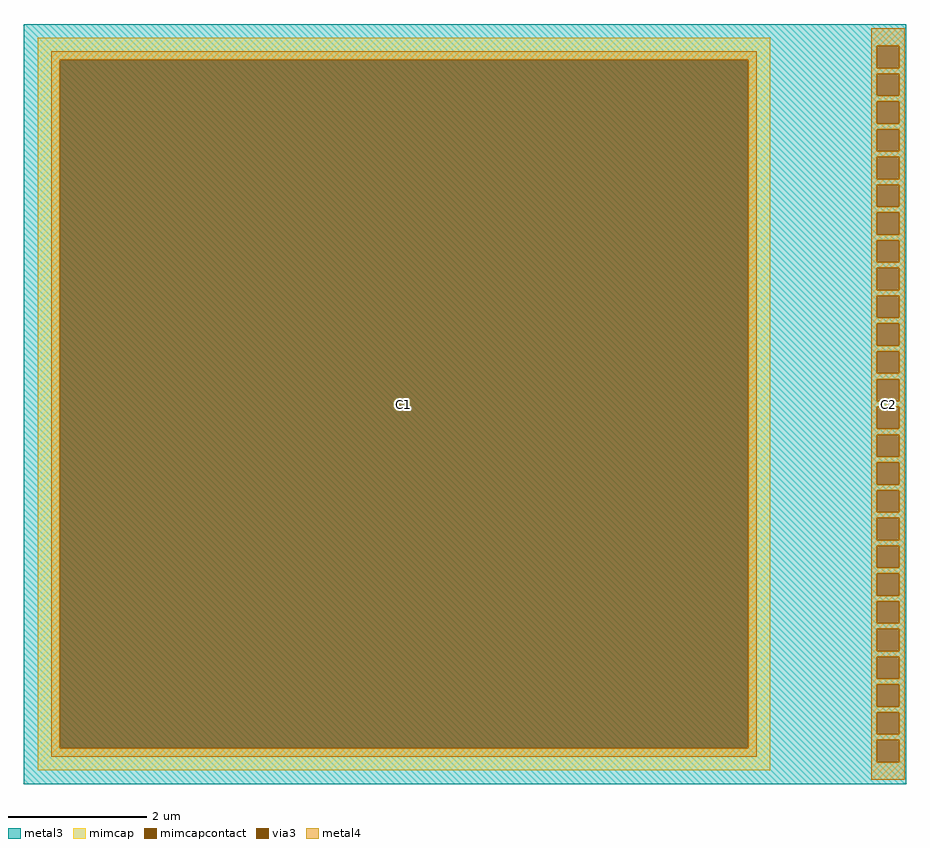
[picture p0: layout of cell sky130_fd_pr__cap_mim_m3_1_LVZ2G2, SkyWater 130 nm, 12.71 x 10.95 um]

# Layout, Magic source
magic
tech sky130A
magscale 1 2
<< metal3 >>
rect -1271 1032 1271 1095
rect -1271 968 1187 1032
rect 1251 968 1271 1032
rect -1271 952 1271 968
rect -1271 888 1187 952
rect 1251 888 1271 952
rect -1271 872 1271 888
rect -1271 808 1187 872
rect 1251 808 1271 872
rect -1271 792 1271 808
rect -1271 728 1187 792
rect 1251 728 1271 792
rect -1271 712 1271 728
rect -1271 648 1187 712
rect 1251 648 1271 712
rect -1271 632 1271 648
rect -1271 568 1187 632
rect 1251 568 1271 632
rect -1271 552 1271 568
rect -1271 488 1187 552
rect 1251 488 1271 552
rect -1271 472 1271 488
rect -1271 408 1187 472
rect 1251 408 1271 472
rect -1271 392 1271 408
rect -1271 328 1187 392
rect 1251 328 1271 392
rect -1271 312 1271 328
rect -1271 248 1187 312
rect 1251 248 1271 312
rect -1271 232 1271 248
rect -1271 168 1187 232
rect 1251 168 1271 232
rect -1271 152 1271 168
rect -1271 88 1187 152
rect 1251 88 1271 152
rect -1271 72 1271 88
rect -1271 8 1187 72
rect 1251 8 1271 72
rect -1271 -8 1271 8
rect -1271 -72 1187 -8
rect 1251 -72 1271 -8
rect -1271 -88 1271 -72
rect -1271 -152 1187 -88
rect 1251 -152 1271 -88
rect -1271 -168 1271 -152
rect -1271 -232 1187 -168
rect 1251 -232 1271 -168
rect -1271 -248 1271 -232
rect -1271 -312 1187 -248
rect 1251 -312 1271 -248
rect -1271 -328 1271 -312
rect -1271 -392 1187 -328
rect 1251 -392 1271 -328
rect -1271 -408 1271 -392
rect -1271 -472 1187 -408
rect 1251 -472 1271 -408
rect -1271 -488 1271 -472
rect -1271 -552 1187 -488
rect 1251 -552 1271 -488
rect -1271 -568 1271 -552
rect -1271 -632 1187 -568
rect 1251 -632 1271 -568
rect -1271 -648 1271 -632
rect -1271 -712 1187 -648
rect 1251 -712 1271 -648
rect -1271 -728 1271 -712
rect -1271 -792 1187 -728
rect 1251 -792 1271 -728
rect -1271 -808 1271 -792
rect -1271 -872 1187 -808
rect 1251 -872 1271 -808
rect -1271 -888 1271 -872
rect -1271 -952 1187 -888
rect 1251 -952 1271 -888
rect -1271 -968 1271 -952
rect -1271 -1032 1187 -968
rect 1251 -1032 1271 -968
rect -1271 -1095 1271 -1032
<< via3 >>
rect 1187 968 1251 1032
rect 1187 888 1251 952
rect 1187 808 1251 872
rect 1187 728 1251 792
rect 1187 648 1251 712
rect 1187 568 1251 632
rect 1187 488 1251 552
rect 1187 408 1251 472
rect 1187 328 1251 392
rect 1187 248 1251 312
rect 1187 168 1251 232
rect 1187 88 1251 152
rect 1187 8 1251 72
rect 1187 -72 1251 -8
rect 1187 -152 1251 -88
rect 1187 -232 1251 -168
rect 1187 -312 1251 -248
rect 1187 -392 1251 -328
rect 1187 -472 1251 -408
rect 1187 -552 1251 -488
rect 1187 -632 1251 -568
rect 1187 -712 1251 -648
rect 1187 -792 1251 -728
rect 1187 -872 1251 -808
rect 1187 -952 1251 -888
rect 1187 -1032 1251 -968
<< mimcap >>
rect -1231 992 879 1055
rect -1231 -992 -1168 992
rect 816 -992 879 992
rect -1231 -1055 879 -992
<< mimcapcontact >>
rect -1168 -992 816 992
<< metal4 >>
rect 1171 1032 1267 1083
rect -1192 992 840 1016
rect -1192 -992 -1168 992
rect 816 -992 840 992
rect -1192 -1016 840 -992
rect 1171 968 1187 1032
rect 1251 968 1267 1032
rect 1171 952 1267 968
rect 1171 888 1187 952
rect 1251 888 1267 952
rect 1171 872 1267 888
rect 1171 808 1187 872
rect 1251 808 1267 872
rect 1171 792 1267 808
rect 1171 728 1187 792
rect 1251 728 1267 792
rect 1171 712 1267 728
rect 1171 648 1187 712
rect 1251 648 1267 712
rect 1171 632 1267 648
rect 1171 568 1187 632
rect 1251 568 1267 632
rect 1171 552 1267 568
rect 1171 488 1187 552
rect 1251 488 1267 552
rect 1171 472 1267 488
rect 1171 408 1187 472
rect 1251 408 1267 472
rect 1171 392 1267 408
rect 1171 328 1187 392
rect 1251 328 1267 392
rect 1171 312 1267 328
rect 1171 248 1187 312
rect 1251 248 1267 312
rect 1171 232 1267 248
rect 1171 168 1187 232
rect 1251 168 1267 232
rect 1171 152 1267 168
rect 1171 88 1187 152
rect 1251 88 1267 152
rect 1171 72 1267 88
rect 1171 8 1187 72
rect 1251 8 1267 72
rect 1171 -8 1267 8
rect 1171 -72 1187 -8
rect 1251 -72 1267 -8
rect 1171 -88 1267 -72
rect 1171 -152 1187 -88
rect 1251 -152 1267 -88
rect 1171 -168 1267 -152
rect 1171 -232 1187 -168
rect 1251 -232 1267 -168
rect 1171 -248 1267 -232
rect 1171 -312 1187 -248
rect 1251 -312 1267 -248
rect 1171 -328 1267 -312
rect 1171 -392 1187 -328
rect 1251 -392 1267 -328
rect 1171 -408 1267 -392
rect 1171 -472 1187 -408
rect 1251 -472 1267 -408
rect 1171 -488 1267 -472
rect 1171 -552 1187 -488
rect 1251 -552 1267 -488
rect 1171 -568 1267 -552
rect 1171 -632 1187 -568
rect 1251 -632 1267 -568
rect 1171 -648 1267 -632
rect 1171 -712 1187 -648
rect 1251 -712 1267 -648
rect 1171 -728 1267 -712
rect 1171 -792 1187 -728
rect 1251 -792 1267 -728
rect 1171 -808 1267 -792
rect 1171 -872 1187 -808
rect 1251 -872 1267 -808
rect 1171 -888 1267 -872
rect 1171 -952 1187 -888
rect 1251 -952 1267 -888
rect 1171 -968 1267 -952
rect 1171 -1032 1187 -968
rect 1251 -1032 1267 -968
rect 1171 -1083 1267 -1032
<< labels >>
rlabel metal4 s 1219 0 1219 0 4 C2
rlabel metal4 s -176 0 -176 0 4 C1
<< properties >>
string FIXED_BBOX -1271 -1095 919 1095
<< end >>
